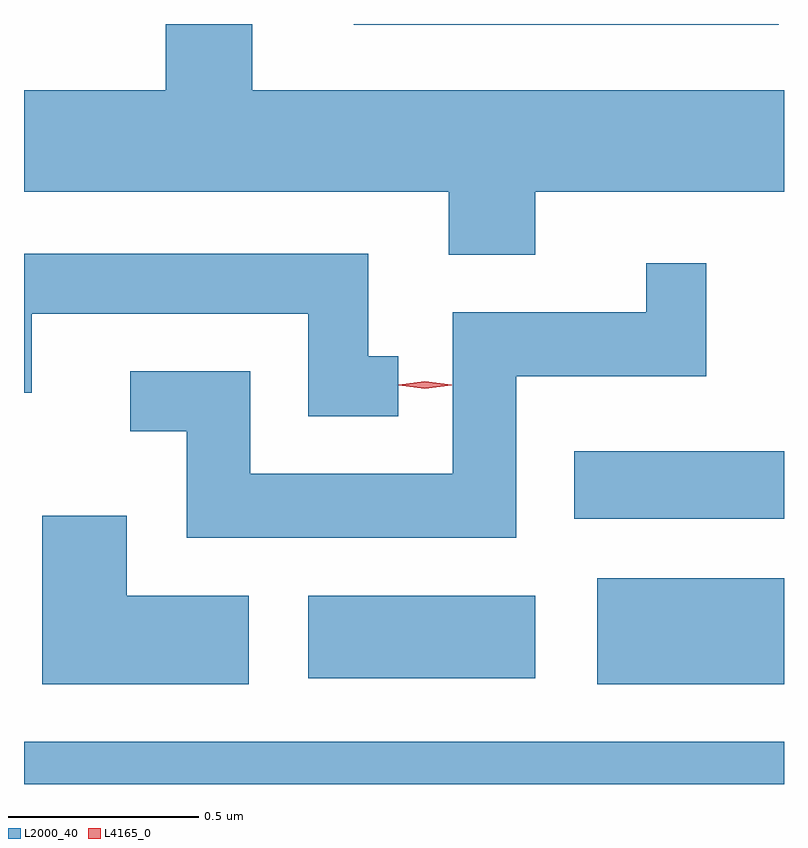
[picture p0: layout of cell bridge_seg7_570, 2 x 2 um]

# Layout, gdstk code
import gdstk
lib = gdstk.Library(unit=1e-6, precision=1e-09)
def R(c, l, rs):  # rectangles x0, y0, x1, y1
    for r in rs: c.add(gdstk.rectangle(r[:2], r[2:], *l))
def P(c, l, *ps):  # polygons
    for p in ps: c.add(gdstk.Polygon(p, *l))
L2000_40 = (2000, 40)
L4165_0 = (4165, 0)

bridge_seg7_570 = lib.new_cell('bridge_seg7_570')
R(bridge_seg7_570, L2000_40, [(958.263,1770.478,960.263,1770.589), (959.771,1770.741,960.263,1771.019), (959.011,1770.756,959.609,1770.974), (959.711,1771.176,960.263,1771.354), (959.131,1772.476,960.249,1772.478)])
P(bridge_seg7_570, L2000_40, [(959.609,1772.036),(960.263,1772.036),(960.263,1772.304),(958.864,1772.304),(958.864,1772.478),(958.636,1772.478),(958.636,1772.304),(958.263,1772.304),(958.263,1772.036),(959.381,1772.036),(959.381,1771.871),(959.609,1771.871)],
  [(959.248,1771.604),(959.169,1771.604),(959.169,1771.874),(958.263,1771.874),(958.263,1771.508),(958.284,1771.508),(958.284,1771.716),(959.011,1771.716),(959.011,1771.446),(959.248,1771.446)],
  [(959.559,1771.551),(960.059,1771.551),(960.059,1771.848),(959.901,1771.848),(959.901,1771.719),(959.391,1771.719),(959.391,1771.294),(958.859,1771.294),(958.859,1771.564),(958.543,1771.564),(958.543,1771.406),(958.691,1771.406),(958.691,1771.126),(959.559,1771.126)],
  [(958.854,1770.974),(958.534,1770.974),(958.534,1771.184),(958.311,1771.184),(958.311,1770.741),(958.854,1770.741)])
P(bridge_seg7_570, L4165_0, [(959.318,1771.518),(959.249,1771.528),(959.249,1771.528),(959.249,1771.529),(959.318,1771.538),(959.388,1771.529),(959.388,1771.528),(959.388,1771.528)])

lib.write_gds('bridge_seg7_570.gds')
